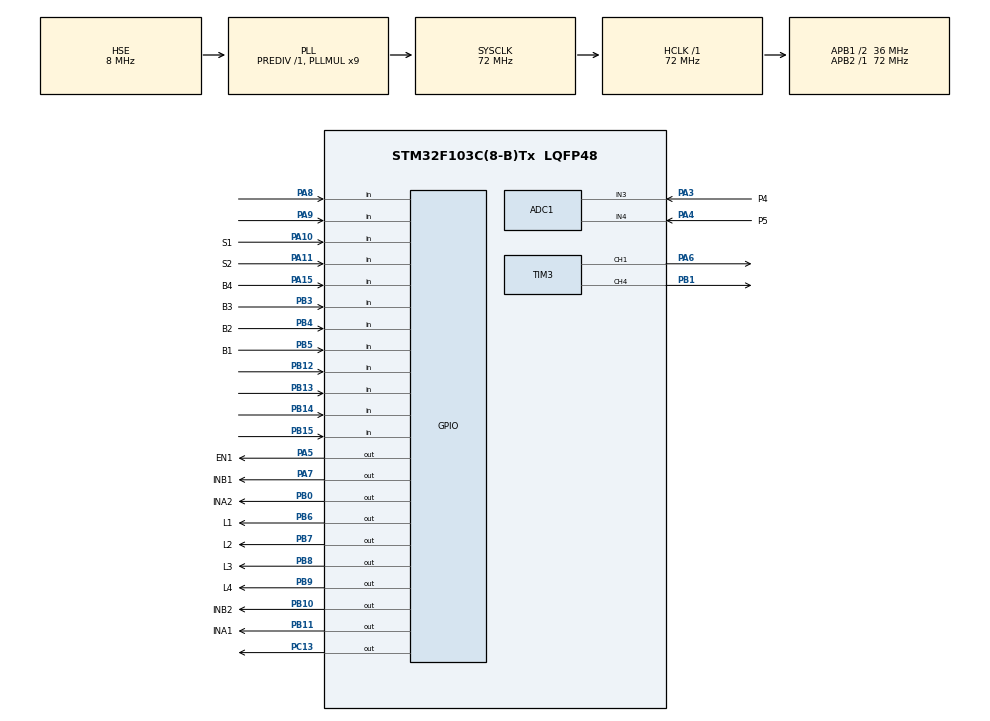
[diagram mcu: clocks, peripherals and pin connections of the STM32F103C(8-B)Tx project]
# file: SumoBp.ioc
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ADC1.Channel-0\#ChannelRegularConversion=ADC_CHANNEL_0
ADC1.Channel-1\#ChannelRegularConversion=ADC_CHANNEL_1
ADC1.Channel-2\#ChannelRegularConversion=ADC_CHANNEL_2
ADC1.Channel-3\#ChannelRegularConversion=ADC_CHANNEL_3
ADC1.ContinuousConvMode=ENABLE
ADC1.NbrOfConversion=4
ADC1.NbrOfConversionFlag=1
ADC1.Rank-0\#ChannelRegularConversion=1
ADC1.Rank-1\#ChannelRegularConversion=2
ADC1.Rank-2\#ChannelRegularConversion=3
ADC1.Rank-3\#ChannelRegularConversion=4
ADC1.SamplingTime-0\#ChannelRegularConversion=ADC_SAMPLETIME_1CYCLE_5
ADC1.SamplingTime-1\#ChannelRegularConversion=ADC_SAMPLETIME_1CYCLE_5
ADC1.SamplingTime-2\#ChannelRegularConversion=ADC_SAMPLETIME_1CYCLE_5
ADC1.SamplingTime-3\#ChannelRegularConversion=ADC_SAMPLETIME_1CYCLE_5
ADC1.master=1
Dma.ADC1.0.Direction=DMA_PERIPH_TO_MEMORY
Dma.ADC1.0.Instance=DMA1_Channel1
Dma.ADC1.0.MemDataAlignment=DMA_MDATAALIGN_WORD
Dma.ADC1.0.MemInc=DMA_MINC_ENABLE
Dma.ADC1.0.Mode=DMA_CIRCULAR
Dma.ADC1.0.PeriphDataAlignment=DMA_PDATAALIGN_WORD
Dma.ADC1.0.PeriphInc=DMA_PINC_DISABLE
Dma.ADC1.0.Priority=DMA_PRIORITY_LOW
Dma.Request0=ADC1
Mcu.Family=STM32F1
Mcu.Name=STM32F103C(8-B)Tx
Mcu.Package=LQFP48
NVIC.DMA1_Channel1_IRQn=true\:0\:0\:false\:false\:true\:false\:true\:true
NVIC.PriorityGroup=NVIC_PRIORITYGROUP_4
PA0-WKUP.GPIO_Label=P1
PA0-WKUP.Signal=ADCx_IN0
PA1.GPIO_Label=P2
PA1.Signal=ADCx_IN1
PA10.GPIO_Label=S1
PA10.Signal=GPIO_Input
PA11.GPIO_Label=S2
PA11.Signal=GPIO_Input
PA13.Mode=Serial_Wire
PA13.Signal=SYS_JTMS-SWDIO
PA14.Mode=Serial_Wire
PA14.Signal=SYS_JTCK-SWCLK
PA15.GPIO_Label=B4
PA15.Signal=GPIO_Input
PA2.GPIO_Label=P3
PA2.Signal=ADCx_IN2
PA3.GPIO_Label=P4
PA3.Signal=ADCx_IN3
PA4.GPIO_Label=P5
PA4.Signal=ADCx_IN4
PA5.GPIO_Label=EN1
PA5.Signal=GPIO_Output
PA6.Signal=S_TIM3_CH1
PA7.GPIO_Label=INB1
PA7.Signal=GPIO_Output
PA8.Signal=GPIO_Input
PA9.Signal=GPIO_Input
PB0.GPIO_Label=INA2
PB0.Signal=GPIO_Output
PB1.Signal=S_TIM3_CH4
PB10.GPIO_Label=INB2
PB10.Signal=GPIO_Output
PB11.GPIO_Label=INA1
PB11.Signal=GPIO_Output
PB12.Signal=GPIO_Input
PB13.Signal=GPIO_Input
PB14.Signal=GPIO_Input
PB15.Signal=GPIO_Input
PB3.GPIO_Label=B3
PB3.Signal=GPIO_Input
PB4.GPIO_Label=B2
PB4.Signal=GPIO_Input
PB5.GPIO_Label=B1
PB5.Signal=GPIO_Input
PB6.GPIO_Label=L1
PB6.Signal=GPIO_Output
PB7.GPIO_Label=L2
PB7.Signal=GPIO_Output
PB8.GPIO_Label=L3
PB8.Signal=GPIO_Output
PB9.GPIO_Label=L4
PB9.Signal=GPIO_Output
PC13-TAMPER-RTC.Signal=GPIO_Output
PD0-OSC_IN.Mode=HSE-External-Oscillator
PD0-OSC_IN.Signal=RCC_OSC_IN
PD1-OSC_OUT.Mode=HSE-External-Oscillator
PD1-OSC_OUT.Signal=RCC_OSC_OUT
ProjectManager.HeapSize=0x200
ProjectManager.StackSize=0x400
ProjectManager.TargetToolchain=STM32CubeIDE
RCC.ADCPresc=RCC_ADCPCLK2_DIV6
RCC.AHBFreq_Value=72000000
RCC.APB1CLKDivider=RCC_HCLK_DIV2
RCC.APB1Freq_Value=36000000
RCC.APB1TimFreq_Value=72000000
RCC.APB2Freq_Value=72000000
RCC.APB2TimFreq_Value=72000000
RCC.HCLKFreq_Value=72000000
RCC.PLLMUL=RCC_PLL_MUL9
RCC.PLLSourceVirtual=RCC_PLLSOURCE_HSE
RCC.SYSCLKFreq_VALUE=72000000
RCC.SYSCLKSource=RCC_SYSCLKSOURCE_PLLCLK
RCC.USBFreq_Value=72000000
SH.ADCx_IN0.0=ADC1_IN0
SH.ADCx_IN1.0=ADC1_IN1
SH.ADCx_IN2.0=ADC1_IN2
SH.ADCx_IN3.0=ADC1_IN3,IN3
SH.ADCx_IN4.0=ADC1_IN4,IN4
SH.S_TIM3_CH1.0=TIM3_CH1,PWM Generation1 CH1
SH.S_TIM3_CH4.0=TIM3_CH4,PWM Generation4 CH4
TIM1.AutoReloadPreload=TIM_AUTORELOAD_PRELOAD_ENABLE
TIM1.Period=1892
TIM1.Prescaler=0
TIM3.Channel-PWM\ Generation1\ CH1=TIM_CHANNEL_1
TIM3.Channel-PWM\ Generation4\ CH4=TIM_CHANNEL_4
VP_TIM1_VS_ClockSourceINT.Mode=Internal
VP_TIM3_VS_ClockSourceINT.Mode=Internal
board=custom

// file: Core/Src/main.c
/* USER CODE BEGIN Header */
/**
 ******************************************************************************
 * @file           : main.c
 * @brief          : Main program body
 ******************************************************************************
 * @attention
 *
 * Copyright (c) 2023 STMicroelectronics.
 * All rights reserved.
 *
 * This software is licensed under terms that can be found in the LICENSE file
 * in the root directory of this software component.
 * If no LICENSE file comes with this software, it is provided AS-IS.
 *
 ******************************************************************************
 */
/* USER CODE END Header */
#include "main.h"

/* USER CODE BEGIN Includes */
#include "sensor.h"
#include "stdlib.h"
#include "UsefulFunctions.h"
#include "Leds.h"
#include "Motors.h"
#include "tracking.h"
/* USER CODE END Includes */

ADC_HandleTypeDef hadc1;
DMA_HandleTypeDef hdma_adc1;

TIM_HandleTypeDef htim1;
TIM_HandleTypeDef htim3;

void SystemClock_Config(void);
static void MX_GPIO_Init(void);
static void MX_DMA_Init(void);
static void MX_TIM1_Init(void);
static void MX_ADC1_Init(void);
static void MX_TIM3_Init(void);

/* USER CODE BEGIN 0 */
/*pin pinS[] = { { S1_GPIO_Port, S1_Pin }, { S2_GPIO_Port, S2_Pin }, {
 S3_GPIO_Port, S3_Pin }, { S6_GPIO_Port, S6_Pin }, { S7_GPIO_Port, S7_Pin }, {
 S5_GPIO_Port, S5_Pin }, { S8_GPIO_Port,
 S8_Pin } };*/
int Sensors[] = { 0, 0, 0, 0 };
int inicio = 0;
uint32_t adc_buf[ADC_BUF_LEN];
uint32_t CNY70_1[ADC_BUF_LEN / 4];
uint32_t CNY70_2[ADC_BUF_LEN / 4];
uint32_t CNY70_3[ADC_BUF_LEN / 4];
uint32_t CNY70_4[ADC_BUF_LEN / 4];
int angulo;

button btns[CANT_BTN];
motor Motors[2];

int count = 0;
int mainState;
//int ticks;
//int lecturaBtn;
/* USER CODE END 0 */

int main(void)
{

  /* MCU Configuration--------------------------------------------------------*/

  /* Reset of all peripherals, Initializes the Flash interface and the Systick. */
  HAL_Init();

  /* Configure the system clock */
  SystemClock_Config();

  /* Initialize all configured peripherals */
  MX_GPIO_Init();
  MX_DMA_Init();
  MX_TIM1_Init();
  MX_ADC1_Init();
  MX_TIM3_Init();
  /* USER CODE BEGIN 2 */
	btns[0].PIN.Port = B1_GPIO_Port;
	btns[0].PIN.pin = B1_Pin;
	btns[0].estado = ESPERA;
	btns[0].flag = 0;
	btns[1].PIN.Port = B2_GPIO_Port;
	btns[1].PIN.pin = B2_Pin;
	btns[1].estado = ESPERA;
	btns[1].flag = 0;
	btns[2].PIN.Port = B3_GPIO_Port;
	btns[2].PIN.pin = B3_Pin;
	btns[2].estado = ESPERA;
	btns[2].flag = 0;
	btns[3].PIN.Port = B4_GPIO_Port;
	btns[3].PIN.pin = B4_Pin;
	btns[3].estado = ESPERA;
	btns[3].flag = 0;
	mainState = INIT;
	Motors[0].IN1.Port = INA1_GPIO_Port;
	Motors[0].IN2.Port = INA2_GPIO_Port;
	Motors[0].IN1.pin = INA1_Pin;
	Motors[0].IN2.pin = INA2_Pin;
	Motors[1].IN1.Port = INB1_GPIO_Port;
	Motors[1].IN2.Port = INB2_GPIO_Port;
	Motors[1].IN1.pin = INB1_Pin;
	Motors[1].IN2.pin = INB2_Pin;

	//HAL_TIM_PWM_Start(&htim1, TIM_CHANNEL_2);
	HAL_TIM_PWM_Start(&htim3, TIM_CHANNEL_1);
	HAL_TIM_PWM_Start(&htim3, TIM_CHANNEL_4);
	HAL_ADC_Start_DMA(&hadc1, (uint32_t*) adc_buf, ADC_BUF_LEN);

  /* USER CODE END 2 */

  /* Infinite loop */
	while (1) {

    /* USER CODE BEGIN 3 */
		//TIM1->CCR2 = 150;
		btnMachine(&btns[0]);
		btnMachine(&btns[1]);
		btnMachine(&btns[2]);
		btnMachine(&btns[3]);
		mainMachine();
	}
  /* USER CODE END 3 */
}

void SystemClock_Config(void)
{
  RCC_OscInitTypeDef RCC_OscInitStruct = {0};
  RCC_ClkInitTypeDef RCC_ClkInitStruct = {0};
  RCC_PeriphCLKInitTypeDef PeriphClkInit = {0};

  /** Initializes the RCC Oscillators according to the specified parameters
  * in the RCC_OscInitTypeDef structure.
  */
  RCC_OscInitStruct.OscillatorType = RCC_OSCILLATORTYPE_HSE;
  RCC_OscInitStruct.HSEState = RCC_HSE_ON;
  RCC_OscInitStruct.HSEPredivValue = RCC_HSE_PREDIV_DIV1;
  RCC_OscInitStruct.HSIState = RCC_HSI_ON;
  RCC_OscInitStruct.PLL.PLLState = RCC_PLL_ON;
  RCC_OscInitStruct.PLL.PLLSource = RCC_PLLSOURCE_HSE;
  RCC_OscInitStruct.PLL.PLLMUL = RCC_PLL_MUL9;
  if (HAL_RCC_OscConfig(&RCC_OscInitStruct) != HAL_OK)
  {
    Error_Handler();
  }

  /** Initializes the CPU, AHB and APB buses clocks
  */
  RCC_ClkInitStruct.ClockType = RCC_CLOCKTYPE_HCLK|RCC_CLOCKTYPE_SYSCLK
                              |RCC_CLOCKTYPE_PCLK1|RCC_CLOCKTYPE_PCLK2;
  RCC_ClkInitStruct.SYSCLKSource = RCC_SYSCLKSOURCE_PLLCLK;
  RCC_ClkInitStruct.AHBCLKDivider = RCC_SYSCLK_DIV1;
  RCC_ClkInitStruct.APB1CLKDivider = RCC_HCLK_DIV2;
  RCC_ClkInitStruct.APB2CLKDivider = RCC_HCLK_DIV1;

  if (HAL_RCC_ClockConfig(&RCC_ClkInitStruct, FLASH_LATENCY_2) != HAL_OK)
  {
    Error_Handler();
  }
  PeriphClkInit.PeriphClockSelection = RCC_PERIPHCLK_ADC;
  PeriphClkInit.AdcClockSelection = RCC_ADCPCLK2_DIV6;
  if (HAL_RCCEx_PeriphCLKConfig(&PeriphClkInit) != HAL_OK)
  {
    Error_Handler();
  }
}

static void MX_ADC1_Init(void)
{

  ADC_ChannelConfTypeDef sConfig = {0};

  /** Common config
  */
  hadc1.Instance = ADC1;
  hadc1.Init.ScanConvMode = ADC_SCAN_ENABLE;
  hadc1.Init.ContinuousConvMode = ENABLE;
  hadc1.Init.DiscontinuousConvMode = DISABLE;
  hadc1.Init.ExternalTrigConv = ADC_SOFTWARE_START;
  hadc1.Init.DataAlign = ADC_DATAALIGN_RIGHT;
  hadc1.Init.NbrOfConversion = 4;
  if (HAL_ADC_Init(&hadc1) != HAL_OK)
  {
    Error_Handler();
  }

  /** Configure Regular Channel
  */
  sConfig.Channel = ADC_CHANNEL_0;
  sConfig.Rank = ADC_REGULAR_RANK_1;
  sConfig.SamplingTime = ADC_SAMPLETIME_1CYCLE_5;
  if (HAL_ADC_ConfigChannel(&hadc1, &sConfig) != HAL_OK)
  {
    Error_Handler();
  }

  /** Configure Regular Channel
  */
  sConfig.Channel = ADC_CHANNEL_1;
  sConfig.Rank = ADC_REGULAR_RANK_2;
  if (HAL_ADC_ConfigChannel(&hadc1, &sConfig) != HAL_OK)
  {
    Error_Handler();
  }

  /** Configure Regular Channel
  */
  sConfig.Channel = ADC_CHANNEL_2;
  sConfig.Rank = ADC_REGULAR_RANK_3;
  if (HAL_ADC_ConfigChannel(&hadc1, &sConfig) != HAL_OK)
  {
    Error_Handler();
  }

  /** Configure Regular Channel
  */
  sConfig.Channel = ADC_CHANNEL_3;
  sConfig.Rank = ADC_REGULAR_RANK_4;
  if (HAL_ADC_ConfigChannel(&hadc1, &sConfig) != HAL_OK)
  {
    Error_Handler();
  }

}

static void MX_TIM1_Init(void)
{

  TIM_ClockConfigTypeDef sClockSourceConfig = {0};
  TIM_MasterConfigTypeDef sMasterConfig = {0};

  htim1.Instance = TIM1;
  htim1.Init.Prescaler = 0;
  htim1.Init.CounterMode = TIM_COUNTERMODE_UP;
  htim1.Init.Period = 1892;
  htim1.Init.ClockDivision = TIM_CLOCKDIVISION_DIV1;
  htim1.Init.RepetitionCounter = 0;
  htim1.Init.AutoReloadPreload = TIM_AUTORELOAD_PRELOAD_ENABLE;
  if (HAL_TIM_Base_Init(&htim1) != HAL_OK)
  {
    Error_Handler();
  }
  sClockSourceConfig.ClockSource = TIM_CLOCKSOURCE_INTERNAL;
  if (HAL_TIM_ConfigClockSource(&htim1, &sClockSourceConfig) != HAL_OK)
  {
    Error_Handler();
  }
  sMasterConfig.MasterOutputTrigger = TIM_TRGO_RESET;
  sMasterConfig.MasterSlaveMode = TIM_MASTERSLAVEMODE_DISABLE;
  if (HAL_TIMEx_MasterConfigSynchronization(&htim1, &sMasterConfig) != HAL_OK)
  {
    Error_Handler();
  }

}

static void MX_TIM3_Init(void)
{

  TIM_ClockConfigTypeDef sClockSourceConfig = {0};
  TIM_MasterConfigTypeDef sMasterConfig = {0};
  TIM_OC_InitTypeDef sConfigOC = {0};

  htim3.Instance = TIM3;
  htim3.Init.Prescaler = 0;
  htim3.Init.CounterMode = TIM_COUNTERMODE_UP;
  htim3.Init.Period = 65535;
  htim3.Init.ClockDivision = TIM_CLOCKDIVISION_DIV1;
  htim3.Init.AutoReloadPreload = TIM_AUTORELOAD_PRELOAD_DISABLE;
  if (HAL_TIM_Base_Init(&htim3) != HAL_OK)
  {
    Error_Handler();
  }
  sClockSourceConfig.ClockSource = TIM_CLOCKSOURCE_INTERNAL;
  if (HAL_TIM_ConfigClockSource(&htim3, &sClockSourceConfig) != HAL_OK)
  {
    Error_Handler();
  }
  if (HAL_TIM_PWM_Init(&htim3) != HAL_OK)
  {
    Error_Handler();
  }
  sMasterConfig.MasterOutputTrigger = TIM_TRGO_RESET;
  sMasterConfig.MasterSlaveMode = TIM_MASTERSLAVEMODE_DISABLE;
  if (HAL_TIMEx_MasterConfigSynchronization(&htim3, &sMasterConfig) != HAL_OK)
  {
    Error_Handler();
  }
  sConfigOC.OCMode = TIM_OCMODE_PWM1;
  sConfigOC.Pulse = 0;
  sConfigOC.OCPolarity = TIM_OCPOLARITY_HIGH;
  sConfigOC.OCFastMode = TIM_OCFAST_DISABLE;
  if (HAL_TIM_PWM_ConfigChannel(&htim3, &sConfigOC, TIM_CHANNEL_1) != HAL_OK)
  {
    Error_Handler();
  }
  if (HAL_TIM_PWM_ConfigChannel(&htim3, &sConfigOC, TIM_CHANNEL_4) != HAL_OK)
  {
    Error_Handler();
  }
  HAL_TIM_MspPostInit(&htim3);

}

static void MX_DMA_Init(void)
{

  /* DMA controller clock enable */
  __HAL_RCC_DMA1_CLK_ENABLE();

  /* DMA interrupt init */
  /* DMA1_Channel1_IRQn interrupt configuration */
  HAL_NVIC_SetPriority(DMA1_Channel1_IRQn, 0, 0);
  HAL_NVIC_EnableIRQ(DMA1_Channel1_IRQn);

}

static void MX_GPIO_Init(void)
{
  GPIO_InitTypeDef GPIO_InitStruct = {0};

  /* GPIO Ports Clock Enable */
  __HAL_RCC_GPIOC_CLK_ENABLE();
  __HAL_RCC_GPIOD_CLK_ENABLE();
  __HAL_RCC_GPIOA_CLK_ENABLE();
  __HAL_RCC_GPIOB_CLK_ENABLE();

  /*Configure GPIO pin Output Level */
  HAL_GPIO_WritePin(GPIOC, GPIO_PIN_13, GPIO_PIN_RESET);

  /*Configure GPIO pin Output Level */
  HAL_GPIO_WritePin(GPIOA, EN1_Pin|INB1_Pin, GPIO_PIN_RESET);

  /*Configure GPIO pin Output Level */
  HAL_GPIO_WritePin(GPIOB, INA2_Pin|INB2_Pin|INA1_Pin|L1_Pin
                          |L2_Pin|L3_Pin|L4_Pin, GPIO_PIN_RESET);

  /*Configure GPIO pin : PC13 */
  GPIO_InitStruct.Pin = GPIO_PIN_13;
  GPIO_InitStruct.Mode = GPIO_MODE_OUTPUT_PP;
  GPIO_InitStruct.Pull = GPIO_NOPULL;
  GPIO_InitStruct.Speed = GPIO_SPEED_FREQ_LOW;
  HAL_GPIO_Init(GPIOC, &GPIO_InitStruct);

  /*Configure GPIO pins : EN1_Pin INB1_Pin */
  GPIO_InitStruct.Pin = EN1_Pin|INB1_Pin;
  GPIO_InitStruct.Mode = GPIO_MODE_OUTPUT_PP;
  GPIO_InitStruct.Pull = GPIO_NOPULL;
  GPIO_InitStruct.Speed = GPIO_SPEED_FREQ_LOW;
  HAL_GPIO_Init(GPIOA, &GPIO_InitStruct);

  /*Configure GPIO pins : INA2_Pin INB2_Pin INA1_Pin L1_Pin
                           L2_Pin L3_Pin L4_Pin */
  GPIO_InitStruct.Pin = INA2_Pin|INB2_Pin|INA1_Pin|L1_Pin
                          |L2_Pin|L3_Pin|L4_Pin;
  GPIO_InitStruct.Mode = GPIO_MODE_OUTPUT_PP;
  GPIO_InitStruct.Pull = GPIO_NOPULL;
  GPIO_InitStruct.Speed = GPIO_SPEED_FREQ_LOW;
  HAL_GPIO_Init(GPIOB, &GPIO_InitStruct);

  /*Configure GPIO pins : PB12 PB13 PB14 PB15
                           B3_Pin B2_Pin B1_Pin */
  GPIO_InitStruct.Pin = GPIO_PIN_12|GPIO_PIN_13|GPIO_PIN_14|GPIO_PIN_15
                          |B3_Pin|B2_Pin|B1_Pin;
  GPIO_InitStruct.Mode = GPIO_MODE_INPUT;
  GPIO_InitStruct.Pull = GPIO_NOPULL;
  HAL_GPIO_Init(GPIOB, &GPIO_InitStruct);

  /*Configure GPIO pins : PA8 PA9 S1_Pin S2_Pin
                           B4_Pin */
  GPIO_InitStruct.Pin = GPIO_PIN_8|GPIO_PIN_9|S1_Pin|S2_Pin
                          |B4_Pin;
  GPIO_InitStruct.Mode = GPIO_MODE_INPUT;
  GPIO_InitStruct.Pull = GPIO_NOPULL;
  HAL_GPIO_Init(GPIOA, &GPIO_InitStruct);

}

/* USER CODE BEGIN 4 */
void mainMachine() {
	switch (mainState) {
	case INIT:
		mainState = SECUENCIA_INICIO;
		showModeNumber(0);
		HAL_Delay(5000);
		showModeNumber(15);
		if (btns[1].flag == 1) {
			count--;
		}

		if (btns[0].flag == 1) {
			count++;
		}

		if (btns[3].flag == 1) {
			count = 0;
		}

		if (count >= 16 || count <= 0) {
			count = 0;
		}
		showModeNumber(count);

		if (btns[2].flag == 1) {
			mainState = SECUENCIA_INICIO;
			showModeNumber(0);
			HAL_Delay(5000);
			showModeNumber(15);
		}
		break;
	case SECUENCIA_INICIO:
		HAL_GPIO_WritePin(EN1, GPIO_PIN_SET);
		TIM3->CCR1 = 60000;
					TIM3->CCR4 = 60000;
		/*angulo = (360 / 16) * count;
		if (angulo <= 180 && angulo > 0) {
			HAL_GPIO_WritePin(Motors[1].IN1.Port, Motors[1].IN1.pin,
					GPIO_PIN_RESET);
			HAL_GPIO_WritePin(Motors[1].IN2.Port, Motors[1].IN2.pin,
					GPIO_PIN_SET);
			HAL_GPIO_WritePin(Motors[0].IN1.Port, Motors[0].IN1.pin,
					GPIO_PIN_RESET);
			HAL_GPIO_WritePin(Motors[0].IN2.Port, Motors[0].IN2.pin,
					GPIO_PIN_SET);
			HAL_GPIO_WritePin(EN1, GPIO_PIN_SET);
			TIM3->CCR1 = 60000;
			TIM3->CCR4 = 60000;
			HAL_Delay(count * TIEMPO_VUELTA);
		} else {
			runMotor(ADELANTE, Motors[DERECHA]);
			runMotor(ATRAS, Motors[IZQUIERDA]);
			TIM3->CCR1 = 60000;
			TIM3->CCR4 = 60000;
			HAL_Delay((-count + 17) * TIEMPO_VUELTA);
		}*/
		showModeNumber(1);
		mainState = MAIN;
		break;
	case MAIN:
		inicio = 1;
		if (linePosition(Sensors) != 0) {
			showModeNumber(7);
			runMotor(ATRAS, Motors[DERECHA]);
			runMotor(ATRAS), Motors[IZQUIERDA]);
		} else {
			showModeNumber(3);
			runMotor(ADELANTE, Motors[DERECHA]);
			runMotor(ADELANTE, Motors[IZQUIERDA]);
		}
		break;
	}
}

void HAL_ADC_ConvCpltCallback(ADC_HandleTypeDef *hadc) {
	for (int i = 0; i < 10; i++) {
		CNY70_1[i] = adc_buf[i * 4];
		CNY70_2[i] = adc_buf[i * 4 + 1];
		CNY70_3[i] = adc_buf[i * 4 + 2];
		CNY70_4[i] = adc_buf[i * 4 + 3];
	}
	Sensors[0] = lecturaCNY70(10, CNY70_1);
	Sensors[1] = lecturaCNY70(10, CNY70_2);
	Sensors[2] = lecturaCNY70(10, CNY70_3);
	Sensors[3] = lecturaCNY70(10, CNY70_4);
	//showModeNumber(8);

}

/* USER CODE END 4 */

void Error_Handler(void)
{
	__disable_irq();
	while (1) {
	}
}
